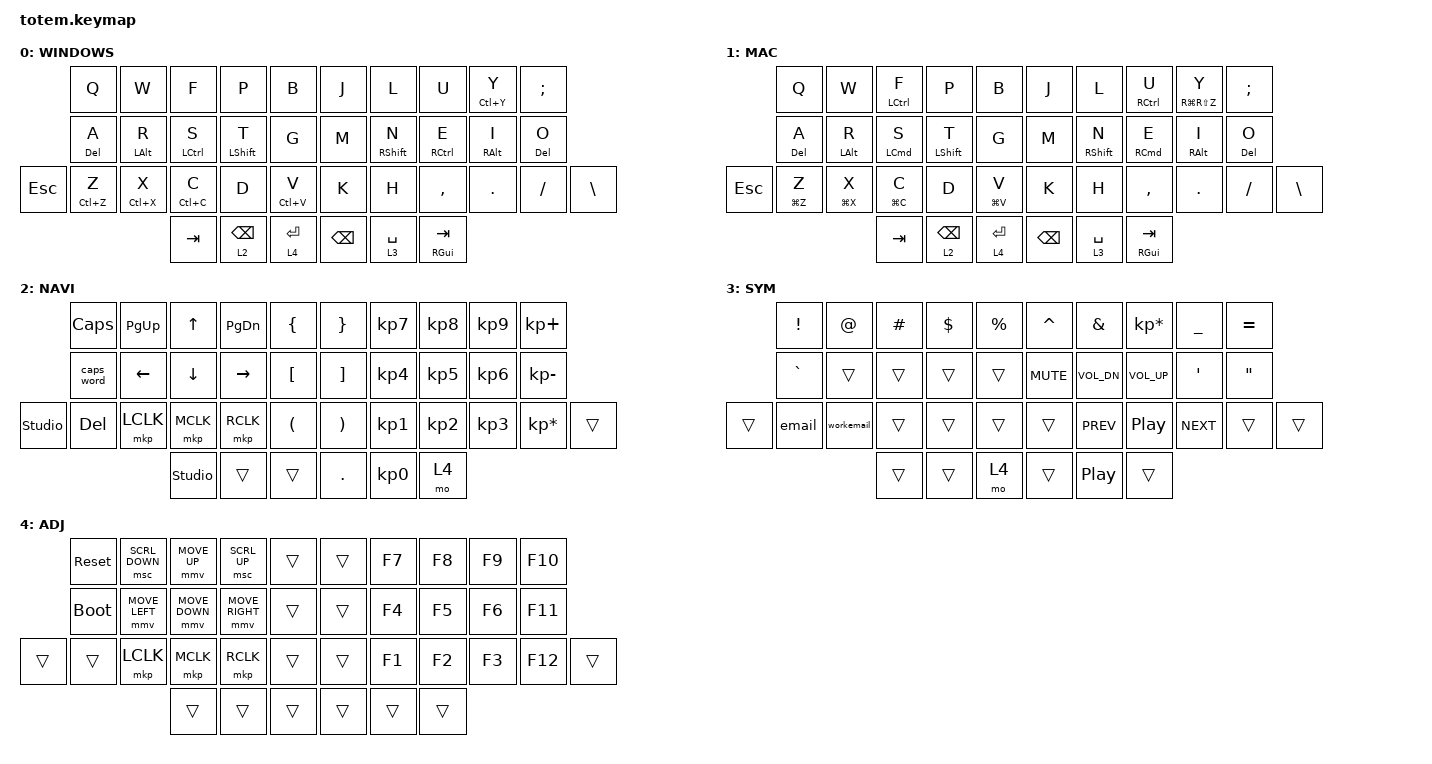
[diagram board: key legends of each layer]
//
//                                                        ▀▀▀▀▀     ▀▀▀▀▀          ▀▀█▀▀
//                                                        ▄▀▀▀▄  ▄  ▄▀▀▀▄  ▄  ▄▀▀▀▄  █  ▄▀▀▀▄
//                                                        █   █  █  █   █  █  █   █  █  █   █
//                                                         ▀▀▀   █   ▀▀▀   █   ▀▀▀   ▀   ▀▀▀
//                                                               █      ▄▄▄█▄▄▄    █   █  
//                                                               ▀      █  █  █     █▄█
//                                                             ▀▀▀▀▀    █  █  █      ▀
//                                                                      ▀  ▀  ▀
//
// ▄▄▄▄▄▄▄▄▄▄▄▄▄▄▄▄▄▄▄▄▄▄▄▄▄▄▄▄▄▄▄▄▄▄▄▄▄▄▄▄▄▄▄▄▄▄▄▄▄▄▄▄▄▄▄▄▄▄▄▄▄▄▄▄▄▄▄▄▄▄▄▄▄▄▄▄▄▄▄▄▄▄▄▄▄▄▄▄▄▄▄▄▄▄▄▄▄▄▄▄▄▄▄▄▄▄▄▄▄▄▄▄▄▄▄▄▄▄▄▄▄▄▄▄▄▄▄▄▄▄▄▄▄▄▄▄▄▄▄▄▄▄▄▄▄▄▄▄▄

#define ZMK_POINTING_DEFAULT_MOVE_VAL 2000  // default: 600
#define ZMK_POINTING_DEFAULT_SCRL_VAL 20    // default: 10

#include <behaviors.dtsi>
#include <dt-bindings/zmk/keys.h>
#include <dt-bindings/zmk/pointing.h>

#define WINDOWS 0
#define MAC  1
#define NAV  2
#define SYM  3
#define ADJ  4
#define S_UNDO &kp LC(Z)
#define S_CUT &kp LC(X)
#define S_COPY &kp LC(C)
#define S_PASTE &kp LC(V)
#define S_REDO &kp LC(Y)

&mt {
    quick-tap-ms = <175>;
    global-quick-tap;
    flavor = "tap-preferred";
    tapping-term-ms = <200>;
};

/ {
    combos {
        compatible = "zmk,combos";

        toggle_mac_on {
            bindings = <&toggle_layer_on 1>;
            key-positions = <20 33>;
            timeout-ms = <250>;
            require-prior-idle-ms = <250>;
            layers = <0>;
        };

        toggle_mac_off {
            bindings = <&toggle_layer_off 1>;
            key-positions = <20 33>;
            layers = <1>;
            timeout-ms = <250>;
            require-prior-idle-ms = <250>;
        };
    };

    macros {
        email: email {
            compatible = "zmk,behavior-macro";
            #binding-cells = <0>;
            bindings = <&kp V &kp I &kp C &kp T &kp O &kp R &kp C &kp H &kp A &kp N1 &kp N9 &kp N9 &kp N6 &kp AT &kp G &kp M &kp A &kp I &kp L &kp DOT &kp C &kp O &kp M>;
            label = "EMAIL";
        };

        workemail: workemail {
            compatible = "zmk,behavior-macro";
            #binding-cells = <0>;
            bindings = <&kp V &kp I &kp C &kp T &kp O &kp R &kp AT &kp C &kp A &kp N &kp T &kp A &kp R &kp A &kp D &kp E &kp S &kp I &kp G &kp N &kp DOT &kp C &kp O &kp M>;
            label = "WORKEMAIL";
        };
    };

    behaviors {
        toggle_layer_on: toggle_layer_on {
            compatible = "zmk,behavior-toggle-layer";
            label = "TOGGLE_LAYER_ON";
            #binding-cells = <1>;
        };

        toggle_layer_off: toggle_layer_off {
            compatible = "zmk,behavior-toggle-layer";
            label = "TOGGLE_LAYER_OFF";
            #binding-cells = <1>;
            toggle-mode = "off";
        };
    };

    keymap {
        compatible = "zmk,keymap";

        // ▄▄▄▄▄▄▄▄▄▄▄▄▄▄▄▄▄▄▄▄▄▄▄▄▄▄▄▄▄▄▄▄▄▄▄▄▄▄▄▄▄▄▄▄▄▄▄▄▄▄▄▄▄▄▄▄▄▄▄▄▄▄▄▄▄▄▄▄▄▄▄▄▄▄▄▄▄▄▄▄▄▄▄▄▄▄▄▄▄▄▄▄▄▄▄▄▄▄▄▄▄▄▄▄▄▄▄▄▄▄▄▄▄▄▄▄▄▄▄▄▄▄▄▄▄▄▄▄▄▄▄▄▄▄▄▄▄▄▄▄▄▄▄▄▄▄▄▄▄

        windows_layer {
            // ┏━━━━━━━━━━━━━━━━━━━━━━━━━━━━━━━━━━━━━━━┓

            label = "WINDOWS";

            // ┗━━━━━━━━━━━━━━━━━━━━━━━━━━━━━━━━━━━━━━━┛
            //             ┏━━━━━━━━━━━┳━━━━━━━━━━━┳━━━━━━━━━━━┳━━━━━━━━━━━┳━━━━━━━━━━━┓               ┏━━━━━━━━━━━┳━━━━━━━━━━━┳━━━━━━━━━━━┳━━━━━━━━━━━┳━━━━━━━━━━━┓
            //             ┃     Q     ┃     W     ┃     F     ┃     P     ┃     B     ┃               ┃     J     ┃     L     ┃     U     ┃     Y     ┃     ;     ┃
            //             ┣━━━━━━━━━━━╋━━━━━━━━━━━╋━━━━━━━━━━━╋━━━━━━━━━━━╋━━━━━━━━━━━┫               ┣━━━━━━━━━━━╋━━━━━━━━━━━╋━━━━━━━━━━━╋━━━━━━━━━━━╋━━━━━━━━━━━┫
            //             ┃     A     ┃     R     ┃     S     ┃     T     ┃     G     ┃               ┃     M     ┃     N     ┃     E     ┃     I     ┃     O     ┃
            // ┏━━━━━━━━━━━╋━━━━━━━━━━━╋━━━━━━━━━━━╋━━━━━━━━━━━╋━━━━━━━━━━━╋━━━━━━━━━━━┫               ┣━━━━━━━━━━━╋━━━━━━━━━━━╋━━━━━━━━━━━╋━━━━━━━━━━━╋━━━━━━━━━━━╋━━━━━━━━━━━┓
            // ┃    ESC    ┃     Z     ┃     X     ┃     C     ┃     D     ┃     V     ┃               ┃     K     ┃     H     ┃     ,     ┃     .     ┃     /     ┃     \     ┃
            // ┗━━━━━━━━━━━┻━━━━━━━━━━━┻━━━━━━━━━━━╋━━━━━━━━━━━╋━━━━━━━━━━━╋━━━━━━━━━━━┫               ┣━━━━━━━━━━━╋━━━━━━━━━━━╋━━━━━━━━━━━╋━━━━━━━━━━━┻━━━━━━━━━━━┻━━━━━━━━━━━┛
            //                                     ┃    DEL    ┃   BSPC    ┃   ENTER   ┃               ┃    TAB    ┃    SPC    ┃   BSPC    ┃
            //                                     ┗━━━━━━━━━━━┻━━━━━━━━━━━┻━━━━━━━━━━━┛               ┗━━━━━━━━━━━┻━━━━━━━━━━━┻━━━━━━━━━━━┛

            bindings = <
         &kp Q        &kp W        &kp F        &kp P        &kp B          &kp J     &kp L        &kp U         &mt LC(Y) Y  &kp SEMI
         &mt DEL A    &mt LALT R   &mt LCTRL S  &mt LSHFT T  &kp G          &kp M     &mt RSHFT N  &mt RCTRL E   &mt RALT I   &mt DEL O
&kp ESC  &mt LC(Z) Z  &mt LC(X) X  &mt LC(C) C  &kp D        &mt LC(V) V    &kp K     &kp H        &kp COMMA     &kp DOT      &kp FSLH   &kp BSLH
                                   &kp TAB      &lt 2 BSPC   &lt 4 RET      &kp BSPC  &lt 3 SPACE  &mt RGUI TAB
            >;
        };

        // ▄▄▄▄▄▄▄▄▄▄▄▄▄▄▄▄▄▄▄▄▄▄▄▄▄▄▄▄▄▄▄▄▄▄▄▄▄▄▄▄▄▄▄▄▄▄▄▄▄▄▄▄▄▄▄▄▄▄▄▄▄▄▄▄▄▄▄▄▄▄▄▄▄▄▄▄▄▄▄▄▄▄▄▄▄▄▄▄▄▄▄▄▄▄▄▄▄▄▄▄▄▄▄▄▄▄▄▄▄▄▄▄▄▄▄▄▄▄▄▄▄▄▄▄▄▄▄▄▄▄▄▄▄▄▄▄▄▄▄▄▄▄▄▄▄▄▄▄▄

        mac_layer {
            // ┏━━━━━━━━━━━━━━━━━━━━━━━━━━━━━━━━━━━━━━━┓

            label = "MAC";

            // ┗━━━━━━━━━━━━━━━━━━━━━━━━━━━━━━━━━━━━━━━┛
            //             ┏━━━━━━━━━━━┳━━━━━━━━━━━┳━━━━━━━━━━━┳━━━━━━━━━━━┳━━━━━━━━━━━┓               ┏━━━━━━━━━━━┳━━━━━━━━━━━┳━━━━━━━━━━━┳━━━━━━━━━━━┳━━━━━━━━━━━┓
            //             ┃     Q     ┃     W     ┃     F     ┃     P     ┃     B     ┃               ┃     J     ┃     L     ┃     U     ┃     Y     ┃     ;     ┃
            //             ┣━━━━━━━━━━━╋━━━━━━━━━━━╋━━━━━━━━━━━╋━━━━━━━━━━━╋━━━━━━━━━━━┫               ┣━━━━━━━━━━━╋━━━━━━━━━━━╋━━━━━━━━━━━╋━━━━━━━━━━━╋━━━━━━━━━━━┫
            //             ┃     A     ┃     R     ┃     S     ┃     T     ┃     G     ┃               ┃     M     ┃     N     ┃     E     ┃     I     ┃     O     ┃
            // ┏━━━━━━━━━━━╋━━━━━━━━━━━╋━━━━━━━━━━━╋━━━━━━━━━━━╋━━━━━━━━━━━╋━━━━━━━━━━━┫               ┣━━━━━━━━━━━╋━━━━━━━━━━━╋━━━━━━━━━━━╋━━━━━━━━━━━╋━━━━━━━━━━━╋━━━━━━━━━━━┓
            // ┃    ESC    ┃     Z     ┃     X     ┃     C     ┃     D     ┃     V     ┃               ┃     K     ┃     H     ┃     ,     ┃     .     ┃     /     ┃     \     ┃
            // ┗━━━━━━━━━━━┻━━━━━━━━━━━┻━━━━━━━━━━━╋━━━━━━━━━━━╋━━━━━━━━━━━╋━━━━━━━━━━━┫               ┣━━━━━━━━━━━╋━━━━━━━━━━━╋━━━━━━━━━━━╋━━━━━━━━━━━┻━━━━━━━━━━━┻━━━━━━━━━━━┛
            //                                     ┃    DEL    ┃   BSPC    ┃   ENTER   ┃               ┃    TAB    ┃    SPC    ┃   BSPC    ┃
            //                                     ┗━━━━━━━━━━━┻━━━━━━━━━━━┻━━━━━━━━━━━┛               ┗━━━━━━━━━━━┻━━━━━━━━━━━┻━━━━━━━━━━━┛

            bindings = <
         &kp Q        &kp W        &mt LEFT_CONTROL F  &kp P        &kp B          &kp J     &kp L        &mt RIGHT_CONTROL U  &mt RG(RS(Z)) Y  &kp SEMI
         &mt DEL A    &mt LALT R   &mt LEFT_COMMAND S  &mt LSHFT T  &kp G          &kp M     &mt RSHFT N  &mt RIGHT_COMMAND E  &mt RALT I       &mt DEL O
&kp ESC  &mt LG(Z) Z  &mt LG(X) X  &mt LG(C) C         &kp D        &mt LG(V) V    &kp K     &kp H        &kp COMMA            &kp DOT          &kp FSLH   &kp BSLH
                                   &kp TAB             &lt 2 BSPC   &lt 4 ENTER    &kp BSPC  &lt 3 SPACE  &mt RGUI TAB
            >;
        };

        // ▄▄▄▄▄▄▄▄▄▄▄▄▄▄▄▄▄▄▄▄▄▄▄▄▄▄▄▄▄▄▄▄▄▄▄▄▄▄▄▄▄▄▄▄▄▄▄▄▄▄▄▄▄▄▄▄▄▄▄▄▄▄▄▄▄▄▄▄▄▄▄▄▄▄▄▄▄▄▄▄▄▄▄▄▄▄▄▄▄▄▄▄▄▄▄▄▄▄▄▄▄▄▄▄▄▄▄▄▄▄▄▄▄▄▄▄▄▄▄▄▄▄▄▄▄▄▄▄▄▄▄▄▄▄▄▄▄▄▄▄▄▄▄▄▄▄▄▄▄

        nav_layer {
            // ┏━━━━━━━━━━━━━━━━━━━━━━━━━━━━━━━━━━━━━━━┓

            label = "NAVI";

            // ┗━━━━━━━━━━━━━━━━━━━━━━━━━━━━━━━━━━━━━━━┛
            //             ┏━━━━━━━━━━━┳━━━━━━━━━━━┳━━━━━━━━━━━┳━━━━━━━━━━━┳━━━━━━━━━━━┓   ┏━━━━━━━━━━━┳━━━━━━━━━━━┳━━━━━━━━━━━┳━━━━━━━━━━━┳━━━━━━━━━━━┓
            //             ┃  C LOCK   ┃   P UP    ┃     UP    ┃  P DOWN   ┃     {     ┃   ┃     }     ┃     7     ┃     8     ┃     9     ┃     +     ┃
            //             ┣━━━━━━━━━━━╋━━━━━━━━━━━╋━━━━━━━━━━━╋━━━━━━━━━━━╋━━━━━━━━━━━┫   ┣━━━━━━━━━━━╋━━━━━━━━━━━╋━━━━━━━━━━━╋━━━━━━━━━━━╋━━━━━━━━━━━┫
            //             ┃  C WORD   ┃   LEFT    ┃    DOWN   ┃   RIGHT   ┃     [     ┃   ┃     ]     ┃     4     ┃     5     ┃     6     ┃     -     ┃
            // ┏━━━━━━━━━━━╋━━━━━━━━━━━╋━━━━━━━━━━━╋━━━━━━━━━━━╋━━━━━━━━━━━╋━━━━━━━━━━━┫   ┣━━━━━━━━━━━╋━━━━━━━━━━━╋━━━━━━━━━━━╋━━━━━━━━━━━╋━━━━━━━━━━━╋━━━━━━━━━━━┓
            // ┃           ┃           ┃  L CLICK  ┃  M CLICK  ┃  R CLICK  ┃     (     ┃   ┃     )     ┃     1     ┃     2     ┃     3     ┃     *     ┃           ┃
            // ┗━━━━━━━━━━━┻━━━━━━━━━━━┻━━━━━━━━━━━╋━━━━━━━━━━━╋━━━━━━━━━━━╋━━━━━━━━━━━┫   ┣━━━━━━━━━━━╋━━━━━━━━━━━╋━━━━━━━━━━━╋━━━━━━━━━━━┻━━━━━━━━━━━┻━━━━━━━━━━━┛
            //                                     ┃           ┃   BSPC    ┃   ENTER   ┃   ┃    DEL    ┃     0     ┃           ┃
            //                                     ┗━━━━━━━━━━━┻━━━━━━━━━━━┻━━━━━━━━━━━┛   ┗━━━━━━━━━━━┻━━━━━━━━━━━┻━━━━━━━━━━━┛

            bindings = <
                &kp CLCK    &kp PAGE_UP  &kp UP          &kp PAGE_DOWN  &kp LBRC    &kp RBRC    &kp KP_N7  &kp KP_N8  &kp KP_N9  &kp KP_PLUS
                &caps_word  &kp LEFT     &kp DOWN        &kp RIGHT      &kp LBKT    &kp RBKT    &kp KP_N4  &kp KP_N5  &kp KP_N6  &kp KP_MINUS
&studio_unlock  &kp DEL     &mkp LCLK    &mkp MCLK       &mkp RCLK      &kp LPAR    &kp RPAR    &kp KP_N1  &kp KP_N2  &kp KP_N3  &kp KP_MULTIPLY  &trans
                                         &studio_unlock  &trans         &trans      &kp PERIOD  &kp KP_N0  &mo 4
            >;
        };

        // ▄▄▄▄▄▄▄▄▄▄▄▄▄▄▄▄▄▄▄▄▄▄▄▄▄▄▄▄▄▄▄▄▄▄▄▄▄▄▄▄▄▄▄▄▄▄▄▄▄▄▄▄▄▄▄▄▄▄▄▄▄▄▄▄▄▄▄▄▄▄▄▄▄▄▄▄▄▄▄▄▄▄▄▄▄▄▄▄▄▄▄▄▄▄▄▄▄▄▄▄▄▄▄▄▄▄▄▄▄▄▄▄▄▄▄▄▄▄▄▄▄▄▄▄▄▄▄▄▄▄▄▄▄▄▄▄▄▄▄▄▄▄▄▄▄▄▄▄▄

        sim_layer {
            // ┏━━━━━━━━━━━━━━━━━━━━━━━━━━━━━━━━━━━━━━━┓

            label = "SYM";

            // ┗━━━━━━━━━━━━━━━━━━━━━━━━━━━━━━━━━━━━━━━┛
            //             ┏━━━━━━━━━━━┳━━━━━━━━━━━┳━━━━━━━━━━━┳━━━━━━━━━━━┳━━━━━━━━━━━┓   ┏━━━━━━━━━━━┳━━━━━━━━━━━┳━━━━━━━━━━━┳━━━━━━━━━━━┳━━━━━━━━━━━┓
            //             ┃     !     ┃     @     ┃     #     ┃     $     ┃     %     ┃   ┃     ˆ     ┃     &     ┃     *     ┃     '     ┃     "     ┃
            //             ┣━━━━━━━━━━━╋━━━━━━━━━━━╋━━━━━━━━━━━╋━━━━━━━━━━━╋━━━━━━━━━━━┫   ┣━━━━━━━━━━━╋━━━━━━━━━━━╋━━━━━━━━━━━╋━━━━━━━━━━━╋━━━━━━━━━━━┫
            //             ┃     Ä     ┃           ┃    SZ     ┃           ┃           ┃   ┃   MUTE    ┃    VOL-   ┃   VOL+    ┃           ┃           ┃
            // ┏━━━━━━━━━━━╋━━━━━━━━━━━╋━━━━━━━━━━━╋━━━━━━━━━━━╋━━━━━━━━━━━╋━━━━━━━━━━━┫   ┣━━━━━━━━━━━╋━━━━━━━━━━━╋━━━━━━━━━━━╋━━━━━━━━━━━╋━━━━━━━━━━━╋━━━━━━━━━━━┓
            // ┃           ┃  EMAIL1   ┃  EMAIL2   ┃           ┃           ┃           ┃   ┃     _     ┃     =     ┃   LAST    ┃   NEXT    ┃     \     ┃           ┃
            // ┗━━━━━━━━━━━┻━━━━━━━━━━━┻━━━━━━━━━━━╋━━━━━━━━━━━╋━━━━━━━━━━━╋━━━━━━━━━━━┫   ┣━━━━━━━━━━━╋━━━━━━━━━━━╋━━━━━━━━━━━╋━━━━━━━━━━━┻━━━━━━━━━━━┻━━━━━━━━━━━┛
            //                                     ┃           ┃           ┃    ADJ    ┃   ┃           ┃           ┃           ┃
            //                                     ┗━━━━━━━━━━━┻━━━━━━━━━━━┻━━━━━━━━━━━┛   ┗━━━━━━━━━━━┻━━━━━━━━━━━┻━━━━━━━━━━━┛

            bindings = <
        &kp EXCL   &kp AT      &kp HASH  &kp DLLR  &kp PRCNT    &kp CARET   &kp AMPS      &kp KP_ASTERISK   &kp UNDERSCORE  &kp EQUAL
        &kp GRAVE  &trans      &trans    &trans    &trans       &kp C_MUTE  &kp C_VOL_DN  &kp C_VOL_UP      &kp SQT         &kp DQT
&trans  &email     &workemail  &trans    &trans    &trans       &trans      &kp C_PREV    &kp C_PLAY_PAUSE  &kp C_NEXT      &trans     &trans
                               &trans    &trans    &mo 4        &trans      &kp C_PP      &trans
            >;
        };

        // ▄▄▄▄▄▄▄▄▄▄▄▄▄▄▄▄▄▄▄▄▄▄▄▄▄▄▄▄▄▄▄▄▄▄▄▄▄▄▄▄▄▄▄▄▄▄▄▄▄▄▄▄▄▄▄▄▄▄▄▄▄▄▄▄▄▄▄▄▄▄▄▄▄▄▄▄▄▄▄▄▄▄▄▄▄▄▄▄▄▄▄▄▄▄▄▄▄▄▄▄▄▄▄▄▄▄▄▄▄▄▄▄▄▄▄▄▄▄▄▄▄▄▄▄▄▄▄▄▄▄▄▄▄▄▄▄▄▄▄▄▄▄▄▄▄▄▄▄▄

        adjust_layer {
            // ┏━━━━━━━━━━━━━━━━━━━━━━━━━━━━━━━━━━━━━━━┓

            label = "ADJ";

            // ┗━━━━━━━━━━━━━━━━━━━━━━━━━━━━━━━━━━━━━━━┛
            //             ┏━━━━━━━━━━━┳━━━━━━━━━━━┳━━━━━━━━━━━┳━━━━━━━━━━━┳━━━━━━━━━━━┓   ┏━━━━━━━━━━━┳━━━━━━━━━━━┳━━━━━━━━━━━┳━━━━━━━━━━━┳━━━━━━━━━━━┓
            //             ┃   RESET   ┃ SCRL UP   ┃  MOVE UP  ┃ SCRL DOWN ┃           ┃   ┃           ┃    F7     ┃    F8     ┃    F9     ┃    F10    ┃
            //             ┣━━━━━━━━━━━╋━━━━━━━━━━━╋━━━━━━━━━━━╋━━━━━━━━━━━╋━━━━━━━━━━━┫   ┣━━━━━━━━━━━╋━━━━━━━━━━━╋━━━━━━━━━━━╋━━━━━━━━━━━╋━━━━━━━━━━━┫
            //             ┃ BOOTLOAD  ┃ MOVE LEFT ┃ MOVE DOWN ┃ MOVE RIGHT┃           ┃   ┃           ┃    F4     ┃    F5     ┃    F6     ┃    F11    ┃
            // ┏━━━━━━━━━━━╋━━━━━━━━━━━╋━━━━━━━━━━━╋━━━━━━━━━━━╋━━━━━━━━━━━╋━━━━━━━━━━━┫   ┣━━━━━━━━━━━╋━━━━━━━━━━━╋━━━━━━━━━━━╋━━━━━━━━━━━╋━━━━━━━━━━━╋━━━━━━━━━━━┓
            // ┃           ┃  L CLICK  ┃  M CLICK  ┃  R CLICK  ┃           ┃           ┃   ┃           ┃    F1     ┃    F2     ┃    F3     ┃    F12    ┃           ┃
            // ┗━━━━━━━━━━━┻━━━━━━━━━━━┻━━━━━━━━━━━╋━━━━━━━━━━━╋━━━━━━━━━━━╋━━━━━━━━━━━┫   ┣━━━━━━━━━━━╋━━━━━━━━━━━╋━━━━━━━━━━━╋━━━━━━━━━━━┻━━━━━━━━━━━┻━━━━━━━━━━━┛
            //                                     ┃           ┃           ┃           ┃   ┃           ┃           ┃           ┃
            //                                     ┗━━━━━━━━━━━┻━━━━━━━━━━━┻━━━━━━━━━━━┛   ┗━━━━━━━━━━━┻━━━━━━━━━━━┻━━━━━━━━━━━┛

            bindings = <
        &sys_reset   &msc SCRL_DOWN  &mmv MOVE_UP    &msc SCRL_UP     &trans    &trans  &kp F7  &kp F8  &kp F9  &kp F10
        &bootloader  &mmv MOVE_LEFT  &mmv MOVE_DOWN  &mmv MOVE_RIGHT  &trans    &trans  &kp F4  &kp F5  &kp F6  &kp F11
&trans  &trans       &mkp LCLK       &mkp MCLK       &mkp RCLK        &trans    &trans  &kp F1  &kp F2  &kp F3  &kp F12  &trans
                                     &trans          &trans           &trans    &trans  &trans  &trans
            >;
        };
    };
};
